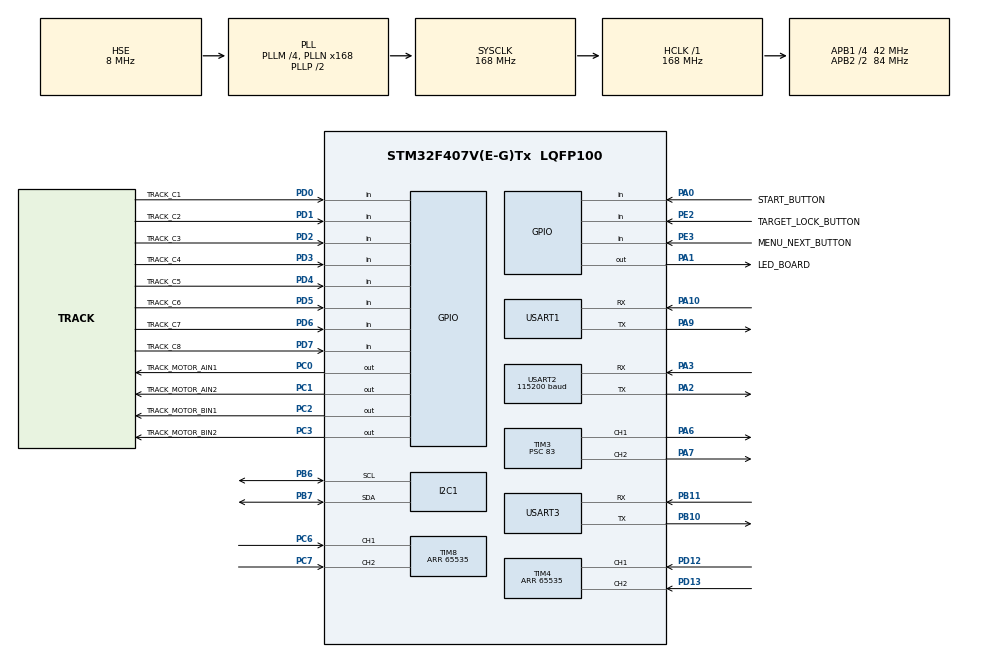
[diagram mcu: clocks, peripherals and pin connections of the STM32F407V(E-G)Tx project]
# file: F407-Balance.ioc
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Dma.Request0=USART2_RX
Dma.Request1=USART1_RX
Dma.Request2=USART1_TX
Dma.Request3=USART2_TX
Dma.Request4=USART3_RX
Dma.Request5=USART3_TX
Dma.Request6=I2C1_TX
Dma.I2C1_TX.6.Direction=DMA_MEMORY_TO_PERIPH
Dma.I2C1_TX.6.FIFOMode=DMA_FIFOMODE_DISABLE
Dma.I2C1_TX.6.Instance=DMA1_Stream7
Dma.I2C1_TX.6.MemDataAlignment=DMA_MDATAALIGN_BYTE
Dma.I2C1_TX.6.MemInc=DMA_MINC_ENABLE
Dma.I2C1_TX.6.Mode=DMA_NORMAL
Dma.I2C1_TX.6.PeriphDataAlignment=DMA_PDATAALIGN_BYTE
Dma.I2C1_TX.6.PeriphInc=DMA_PINC_DISABLE
Dma.I2C1_TX.6.Priority=DMA_PRIORITY_LOW
Dma.USART1_RX.1.Direction=DMA_PERIPH_TO_MEMORY
Dma.USART1_RX.1.FIFOMode=DMA_FIFOMODE_DISABLE
Dma.USART1_RX.1.Instance=DMA2_Stream2
Dma.USART1_RX.1.MemDataAlignment=DMA_MDATAALIGN_BYTE
Dma.USART1_RX.1.MemInc=DMA_MINC_ENABLE
Dma.USART1_RX.1.Mode=DMA_NORMAL
Dma.USART1_RX.1.PeriphDataAlignment=DMA_PDATAALIGN_BYTE
Dma.USART1_RX.1.PeriphInc=DMA_PINC_DISABLE
Dma.USART1_RX.1.Priority=DMA_PRIORITY_HIGH
Dma.USART1_TX.2.Direction=DMA_MEMORY_TO_PERIPH
Dma.USART1_TX.2.FIFOMode=DMA_FIFOMODE_DISABLE
Dma.USART1_TX.2.Instance=DMA2_Stream7
Dma.USART1_TX.2.MemDataAlignment=DMA_MDATAALIGN_BYTE
Dma.USART1_TX.2.MemInc=DMA_MINC_ENABLE
Dma.USART1_TX.2.Mode=DMA_NORMAL
Dma.USART1_TX.2.PeriphDataAlignment=DMA_PDATAALIGN_BYTE
Dma.USART1_TX.2.PeriphInc=DMA_PINC_DISABLE
Dma.USART1_TX.2.Priority=DMA_PRIORITY_HIGH
Dma.USART2_RX.0.Direction=DMA_PERIPH_TO_MEMORY
Dma.USART2_RX.0.FIFOMode=DMA_FIFOMODE_DISABLE
Dma.USART2_RX.0.Instance=DMA1_Stream5
Dma.USART2_RX.0.MemDataAlignment=DMA_MDATAALIGN_BYTE
Dma.USART2_RX.0.MemInc=DMA_MINC_ENABLE
Dma.USART2_RX.0.Mode=DMA_NORMAL
Dma.USART2_RX.0.PeriphDataAlignment=DMA_PDATAALIGN_BYTE
Dma.USART2_RX.0.PeriphInc=DMA_PINC_DISABLE
Dma.USART2_RX.0.Priority=DMA_PRIORITY_HIGH
Dma.USART2_TX.3.Direction=DMA_MEMORY_TO_PERIPH
Dma.USART2_TX.3.FIFOMode=DMA_FIFOMODE_DISABLE
Dma.USART2_TX.3.Instance=DMA1_Stream6
Dma.USART2_TX.3.MemDataAlignment=DMA_MDATAALIGN_BYTE
Dma.USART2_TX.3.MemInc=DMA_MINC_ENABLE
Dma.USART2_TX.3.Mode=DMA_NORMAL
Dma.USART2_TX.3.PeriphDataAlignment=DMA_PDATAALIGN_BYTE
Dma.USART2_TX.3.PeriphInc=DMA_PINC_DISABLE
Dma.USART2_TX.3.Priority=DMA_PRIORITY_HIGH
Dma.USART3_RX.4.Direction=DMA_PERIPH_TO_MEMORY
Dma.USART3_RX.4.FIFOMode=DMA_FIFOMODE_DISABLE
Dma.USART3_RX.4.Instance=DMA1_Stream1
Dma.USART3_RX.4.MemDataAlignment=DMA_MDATAALIGN_BYTE
Dma.USART3_RX.4.MemInc=DMA_MINC_ENABLE
Dma.USART3_RX.4.Mode=DMA_NORMAL
Dma.USART3_RX.4.PeriphDataAlignment=DMA_PDATAALIGN_BYTE
Dma.USART3_RX.4.PeriphInc=DMA_PINC_DISABLE
Dma.USART3_RX.4.Priority=DMA_PRIORITY_HIGH
Dma.USART3_TX.5.Direction=DMA_MEMORY_TO_PERIPH
Dma.USART3_TX.5.FIFOMode=DMA_FIFOMODE_DISABLE
Dma.USART3_TX.5.Instance=DMA1_Stream3
Dma.USART3_TX.5.MemDataAlignment=DMA_MDATAALIGN_BYTE
Dma.USART3_TX.5.MemInc=DMA_MINC_ENABLE
Dma.USART3_TX.5.Mode=DMA_NORMAL
Dma.USART3_TX.5.PeriphDataAlignment=DMA_PDATAALIGN_BYTE
Dma.USART3_TX.5.PeriphInc=DMA_PINC_DISABLE
Dma.USART3_TX.5.Priority=DMA_PRIORITY_HIGH
I2C1.DutyCycle=I2C_DUTYCYCLE_2
I2C1.I2C_Mode=I2C_Fast
Mcu.Family=STM32F4
Mcu.Name=STM32F407V(E-G)Tx
Mcu.Package=LQFP100
NVIC.DMA1_Stream1_IRQn=true\:0\:0\:false\:false\:true\:false\:true\:true
NVIC.DMA1_Stream3_IRQn=true\:0\:0\:false\:false\:true\:false\:true\:true
NVIC.DMA1_Stream5_IRQn=true\:0\:0\:false\:false\:true\:false\:true\:true
NVIC.DMA1_Stream6_IRQn=true\:0\:0\:false\:false\:true\:false\:true\:true
NVIC.DMA1_Stream7_IRQn=true\:15\:0\:false\:false\:true\:false\:true\:true
NVIC.DMA2_Stream2_IRQn=true\:0\:0\:false\:false\:true\:false\:true\:true
NVIC.DMA2_Stream7_IRQn=true\:0\:0\:false\:false\:true\:false\:true\:true
NVIC.I2C1_ER_IRQn=true\:15\:0\:false\:false\:true\:true\:true\:true
NVIC.I2C1_EV_IRQn=true\:15\:0\:false\:false\:true\:true\:true\:true
NVIC.PriorityGroup=NVIC_PRIORITYGROUP_4
NVIC.USART1_IRQn=true\:0\:0\:false\:false\:true\:false\:true\:true
NVIC.USART2_IRQn=true\:0\:0\:false\:false\:true\:true\:true\:true
NVIC.USART3_IRQn=true\:0\:0\:false\:false\:true\:true\:true\:true
PA0.GPIO_Label=START_BUTTON
PA0.GPIO_PuPd=GPIO_PULLDOWN
PA0.Signal=GPIO_Input
PA1.GPIO_Label=LED_BOARD
PA1.GPIO_Speed=GPIO_SPEED_FREQ_HIGH
PA1.Signal=GPIO_Output
PA10.GPIO_PuPd=GPIO_PULLUP
PA10.Mode=Asynchronous
PA10.Signal=USART1_RX
PA13.Mode=Serial_Wire
PA13.Signal=SYS_JTMS-SWDIO
PA14.Mode=Serial_Wire
PA14.Signal=SYS_JTCK-SWCLK
PA2.GPIO_PuPd=GPIO_PULLUP
PA2.Mode=Asynchronous
PA2.Signal=USART2_TX
PA3.GPIO_PuPd=GPIO_NOPULL
PA3.Mode=Asynchronous
PA3.Signal=USART2_RX
PA6.Mode=PWM Generation1 CH1
PA6.Signal=TIM3_CH1
PA7.Mode=PWM Generation2 CH2
PA7.Signal=TIM3_CH2
PA9.GPIO_PuPd=GPIO_PULLUP
PA9.Mode=Asynchronous
PA9.Signal=USART1_TX
PB6.GPIO_PuPd=GPIO_PULLUP
PB6.GPIO_Speed=GPIO_SPEED_FREQ_VERY_HIGH
PB6.Mode=I2C
PB6.Signal=I2C1_SCL
PB7.GPIO_PuPd=GPIO_PULLUP
PB7.GPIO_Speed=GPIO_SPEED_FREQ_VERY_HIGH
PB7.Mode=I2C
PB7.Signal=I2C1_SDA
PB10.GPIO_PuPd=GPIO_PULLUP
PB10.Mode=Asynchronous
PB10.Signal=USART3_TX
PB11.GPIO_PuPd=GPIO_NOPULL
PB11.Mode=Asynchronous
PB11.Signal=USART3_RX
PC0.GPIO_Label=TRACK_MOTOR_AIN1
PC0.Signal=GPIO_Output
PC1.GPIO_Label=TRACK_MOTOR_AIN2
PC1.Signal=GPIO_Output
PC2.GPIO_Label=TRACK_MOTOR_BIN1
PC2.Signal=GPIO_Output
PC3.GPIO_Label=TRACK_MOTOR_BIN2
PC3.Signal=GPIO_Output
PC6.Mode=Encoder_Interface
PC6.Signal=TIM8_CH1
PC7.Mode=Encoder_Interface
PC7.Signal=TIM8_CH2
PD0.GPIO_Label=TRACK_C1
PD0.GPIO_PuPd=GPIO_PULLUP
PD0.Signal=GPIO_Input
PD1.GPIO_Label=TRACK_C2
PD1.GPIO_PuPd=GPIO_PULLUP
PD1.Signal=GPIO_Input
PD2.GPIO_Label=TRACK_C3
PD2.GPIO_PuPd=GPIO_PULLUP
PD2.Signal=GPIO_Input
PD3.GPIO_Label=TRACK_C4
PD3.GPIO_PuPd=GPIO_PULLUP
PD3.Signal=GPIO_Input
PD4.GPIO_Label=TRACK_C5
PD4.GPIO_PuPd=GPIO_PULLUP
PD4.Signal=GPIO_Input
PD5.GPIO_Label=TRACK_C6
PD5.GPIO_PuPd=GPIO_PULLUP
PD5.Signal=GPIO_Input
PD6.GPIO_Label=TRACK_C7
PD6.GPIO_PuPd=GPIO_PULLUP
PD6.Signal=GPIO_Input
PD7.GPIO_Label=TRACK_C8
PD7.GPIO_PuPd=GPIO_PULLUP
PD7.Signal=GPIO_Input
PD12.Mode=Encoder_Interface
PD12.Signal=TIM4_CH1
PD13.Mode=Encoder_Interface
PD13.Signal=TIM4_CH2
PE2.GPIO_Label=TARGET_LOCK_BUTTON
PE2.GPIO_PuPd=GPIO_PULLUP
PE2.Signal=GPIO_Input
PE3.GPIO_Label=MENU_NEXT_BUTTON
PE3.GPIO_PuPd=GPIO_PULLUP
PE3.Signal=GPIO_Input
PC14-OSC32_IN.Mode=LSE-External-Oscillator
PC14-OSC32_IN.Signal=RCC_OSC32_IN
PC15-OSC32_OUT.Mode=LSE-External-Oscillator
PC15-OSC32_OUT.Signal=RCC_OSC32_OUT
PH0-OSC_IN.Mode=HSE-External-Oscillator
PH0-OSC_IN.Signal=RCC_OSC_IN
PH1-OSC_OUT.Mode=HSE-External-Oscillator
PH1-OSC_OUT.Signal=RCC_OSC_OUT
ProjectManager.HeapSize=0x200
ProjectManager.StackSize=0x400
ProjectManager.TargetToolchain=MDK-ARM V5.32
RCC.48MHZClocksFreq_Value=84000000
RCC.AHBFreq_Value=168000000
RCC.APB1CLKDivider=RCC_HCLK_DIV4
RCC.APB1Freq_Value=42000000
RCC.APB1TimFreq_Value=84000000
RCC.APB2CLKDivider=RCC_HCLK_DIV2
RCC.APB2Freq_Value=84000000
RCC.APB2TimFreq_Value=168000000
RCC.CortexFreq_Value=168000000
RCC.HCLKFreq_Value=168000000
RCC.HSE_VALUE=8000000
RCC.HSI_VALUE=16000000
RCC.PLLM=4
RCC.PLLN=168
RCC.PLLSourceVirtual=RCC_PLLSOURCE_HSE
RCC.SYSCLKFreq_VALUE=168000000
RCC.SYSCLKSource=RCC_SYSCLKSOURCE_PLLCLK
RCC.VCOOutputFreq_Value=336000000
TIM3.Channel-PWM\ Generation1\ CH1=TIM_CHANNEL_1
TIM3.Channel-PWM\ Generation2\ CH2=TIM_CHANNEL_2
TIM3.Period=99
TIM3.Prescaler=83
TIM4.EncoderMode=TIM_ENCODERMODE_TI12
TIM4.IC1Filter=6
TIM4.IC2Filter=0
TIM4.Period=65535
TIM8.EncoderMode=TIM_ENCODERMODE_TI12
TIM8.IC1Filter=6
TIM8.IC2Filter=6
TIM8.Period=65535
USART1.VirtualMode=VM_ASYNC
USART2.BaudRate=115200
USART2.VirtualMode=VM_ASYNC
USART3.VirtualMode=VM_ASYNC
board=custom

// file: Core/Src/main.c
/* USER CODE BEGIN Header */
/**
  ******************************************************************************
  * @file           : main.c
  * @brief          : Main program body
  ******************************************************************************
  * @attention
  *
  * Copyright (c) 2026 STMicroelectronics.
  * All rights reserved.
  *
  * This software is licensed under terms that can be found in the LICENSE file
  * in the root directory of this software component.
  * If no LICENSE file comes with this software, it is provided AS-IS.
  *
  ******************************************************************************
  */
/* USER CODE END Header */
#include "main.h"
#include "dma.h"
#include "i2c.h"
#include "usart.h"
#include "gpio.h"

/* USER CODE BEGIN Includes */
#include "Balance_Control.h"
#include "Camera.h"
#include "Motor_Calibration.h"
#include "Motor_Command.h"
#include "Motor_Feedback.h"
#include "OLED_Display.h"
#include "Telemetry.h"
#include "UART_DMA.h"
#include "LineTrack_Control.h"
#include "UI_Menu.h"
#include "tim.h"

/* USER CODE END Includes */

/* USER CODE BEGIN PD */
/*
 * ===================== 串口资源与接线约定 =====================
 *
 * 1. USART1：张大头闭环步进电机总线，115200 8N1。
 *    PA9  / USART1_TX -> 电机 RX/R
 *    PA10 / USART1_RX <- 电机 TX/T
 *
 * 2. USART2：摄像头坐标链路，115200 8N1。
 *    PA2 / USART2_TX，PA3 / USART2_RX。
 *
 * 3. USART3：电脑遥测输出，115200 8N1。
 *    PB10 / USART3_TX -> USB-TTL RX；PB11 不参与当前单向遥测。
 *
 * 4. OLED：0.96 英寸 SSD1306 128x64 四针 I2C，400 kHz。
 *    PB6=I2C1_SCL，PB7=I2C1_SDA；TX 使用低优先级 DMA1_Stream7。
 *
 * ===================== 软件分层与启动顺序 =====================
 * CubeMX 层：MX_DMA_Init()、MX_USARTx_UART_Init() 只配置时钟、GPIO、DMA 句柄和中断。
 * BSP 层：Camera/Motor_Feedback 先清空软件状态，UART_DMA_Init() 再启动
 * USART1/2 RX DMA；USART3 TX DMA 由 Telemetry 按 20 Hz 非阻塞发送。
 * APP 层：Motor_Command 统一管理 USART1；Balance_Control 只在 PA0/Watch 安全
  * 门控、零位查询/清零/验证和使能 ACK 全部通过后执行 O 点稳球闭环。
 *
 * 系统时钟：8 MHz HSE / PLLM 4 = 2 MHz，* PLLN 168 = 336 MHz VCO，
 * / PLLP 2 = 168 MHz SYSCLK；APB1=42 MHz，APB2=84 MHz。
 *
  * 初始化阶段不发送运动命令；PA0 已松开且小球在 O 点稳定 3 帧后，才自动按安全
  * 状态机把当前水平位置建为零点、使能电机并进入 O 点稳球。
 */

/* USER CODE END PD */

void SystemClock_Config(void);

int main(void)
{

  /* MCU Configuration--------------------------------------------------------*/

  /* Reset of all peripherals, Initializes the Flash interface and the Systick. */
  HAL_Init();

  /* USER CODE BEGIN Init */
  /* 复位原因不旁路视觉、PA0、通信 ACK、零点验证和机械硬限位。 */
  __HAL_RCC_CLEAR_RESET_FLAGS();

  /* USER CODE END Init */

  /* Configure the system clock */
  SystemClock_Config();

  /* Initialize all configured peripherals */
  MX_GPIO_Init();
  MX_DMA_Init();
  MX_USART1_UART_Init();
  MX_USART2_UART_Init();
  MX_USART3_UART_Init();
  MX_I2C1_Init();
  /* USER CODE BEGIN 2 */
  /* 业务解析器必须先清零，再启动 USART1/2 的 ReceiveToIdle DMA。 */
  Camera_Init();
  Motor_FeedbackInit();

  /* 启动电机回包和摄像头两路 RX；USART3 保留给电脑端遥测 TX。 */
  UART_DMA_Init();

  /*
   * Motor_Command 先建立 USART1 唯一所有权和不可变 -340/+330 pulse 硬门。
   * 标定模块的 false 参数明确关闭历史自动清零/自动往返；两个 APP 初始化均只
   * 清状态，不发送任何串口命令。Balance 只有通过 PA0、评分页 PE2 或 Watch
   * 完整门控后才启动。
   */
  Motor_CommandInit();
  Motor_CalibrationInit(false);
  Balance_ControlInit();
  Telemetry_Init();
  OLED_DisplayInit();

  /*
   * 循迹底盘只新增独立 TIM/GPIO/PID 路径，不接管稳定版 UART、I2C、PA0、PE2
   * 或张大头 Motor_Command。初始化时 PWM 保持为 0。
   */
  MX_TIM3_Init();
  MX_TIM4_Init();
  MX_TIM8_Init();
  LineTrack_Init();
  UI_MenuInit();

  /* USER CODE END 2 */

  /* Infinite loop */
  while (1)
  {

    /* USER CODE BEGIN 3 */
    /*
     * UART_DMA_Process：监视/补挂 USART1/2 RX DMA；
     * Camera_Process：维护摄像头超时在线状态；
     * Motor_CommandProcess：推进 USART1 TX、ACK、超时和一次重试；
     * UI_MenuProcess：统一扫描 PE3/PE2，短按/长按事件只分发一次；
     * Balance_ControlLoop：确认 PA0 已松开且球稳定在 O 点后，上电自动把当前水平
     * 位置建零并持续闭环回 O 点；PA0、评分页 PE2 和 Watch 保留人工启动入口；
     * Motor_CalibrationProcess：只处理人工 Watch 命令并服从 USART1 所有权。
     * Telemetry_Process：只读控制快照，经 USART3 TX DMA 以 20 Hz 发往电脑。
     * OLED_DisplayProcess：最后只读控制/UI 快照，以 10 Hz 生成 128x64 画面；
     *                     I2C1 DMA 非阻塞发送，故障时自动释放并重建总线。
     * 上述函数均为非阻塞设计，可在裸机 while(1) 中高频轮询。
     */
    UART_DMA_Process();
    Camera_Process();
    Motor_CommandProcess();
    UI_MenuProcess();
    Balance_ControlLoop();
    Motor_CalibrationProcess();
    LineTrack_Process();
    Telemetry_Process();
    OLED_DisplayProcess();
  }
  /* USER CODE END 3 */
}

void SystemClock_Config(void)
{
  RCC_OscInitTypeDef RCC_OscInitStruct = {0};
  RCC_ClkInitTypeDef RCC_ClkInitStruct = {0};

  /** Configure the main internal regulator output voltage
  */
  __HAL_RCC_PWR_CLK_ENABLE();
  __HAL_PWR_VOLTAGESCALING_CONFIG(PWR_REGULATOR_VOLTAGE_SCALE1);

  /** Initializes the RCC Oscillators according to the specified parameters
  * in the RCC_OscInitTypeDef structure.
  */
  RCC_OscInitStruct.OscillatorType = RCC_OSCILLATORTYPE_HSE;
  RCC_OscInitStruct.HSEState = RCC_HSE_ON;
  RCC_OscInitStruct.PLL.PLLState = RCC_PLL_ON;
  RCC_OscInitStruct.PLL.PLLSource = RCC_PLLSOURCE_HSE;
  RCC_OscInitStruct.PLL.PLLM = 4;
  RCC_OscInitStruct.PLL.PLLN = 168;
  RCC_OscInitStruct.PLL.PLLP = RCC_PLLP_DIV2;
  RCC_OscInitStruct.PLL.PLLQ = 4;
  if (HAL_RCC_OscConfig(&RCC_OscInitStruct) != HAL_OK)
  {
    Error_Handler();
  }

  /** Initializes the CPU, AHB and APB buses clocks
  */
  RCC_ClkInitStruct.ClockType = RCC_CLOCKTYPE_HCLK|RCC_CLOCKTYPE_SYSCLK
                              |RCC_CLOCKTYPE_PCLK1|RCC_CLOCKTYPE_PCLK2;
  RCC_ClkInitStruct.SYSCLKSource = RCC_SYSCLKSOURCE_PLLCLK;
  RCC_ClkInitStruct.AHBCLKDivider = RCC_SYSCLK_DIV1;
  RCC_ClkInitStruct.APB1CLKDivider = RCC_HCLK_DIV4;
  RCC_ClkInitStruct.APB2CLKDivider = RCC_HCLK_DIV2;

  if (HAL_RCC_ClockConfig(&RCC_ClkInitStruct, FLASH_LATENCY_5) != HAL_OK)
  {
    Error_Handler();
  }
}

void Error_Handler(void)
{
  __disable_irq();
  while (1)
  {
  }
}
